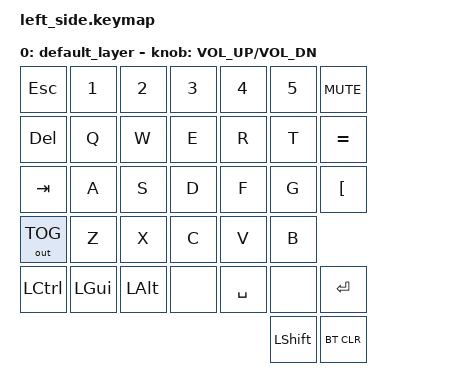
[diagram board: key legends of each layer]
#include <behaviors.dtsi>
#include <dt-bindings/zmk/keys.h>
#include <dt-bindings/zmk/bt.h>
#include <dt-bindings/zmk/outputs.h>

/ {
	
    keymap {
        compatible = "zmk,keymap"; 

        default_layer {
            sensor-bindings = <&inc_dec_kp C_VOL_UP C_VOL_DN>;
    
//==================================================================================
// |   ESC   |    1    |    2    |    3    |    4    |    5    |         | mute
// |   DEL   |    Q    |    W    |    E    |    R    |    T    |   =/+   |
// |   TAB   |    A    |    S    |    D    |    F    |    G    |   [{    |
// |   LA1   |    Z    |    X    |    C    |    V    |    B    |====================
// |  CTRL   |   GUI   |   ALT   |  empty  |  SPACE  |         |  empty  |  ENTER  |
//                                                             |  SHIFT  |   LA1   |
            bindings = <
&kp ESC       &kp N1     &kp N2     &kp N3     &kp N4     &kp N5                &kp C_MUTE
&kp DEL       &kp Q      &kp W      &kp E      &kp R      &kp T      &kp EQUAL
&kp TAB       &kp A      &kp S      &kp D      &kp F      &kp G      &kp LBKT
&out OUT_TOG  &kp Z      &kp X      &kp C      &kp V      &kp B
&kp LCTRL     &kp LGUI   &kp LALT   &none      &kp SPACE             &none      &kp RET
                                                                     &kp LSHIFT &bt BT_CLR
            >;
        };
    };
};  
